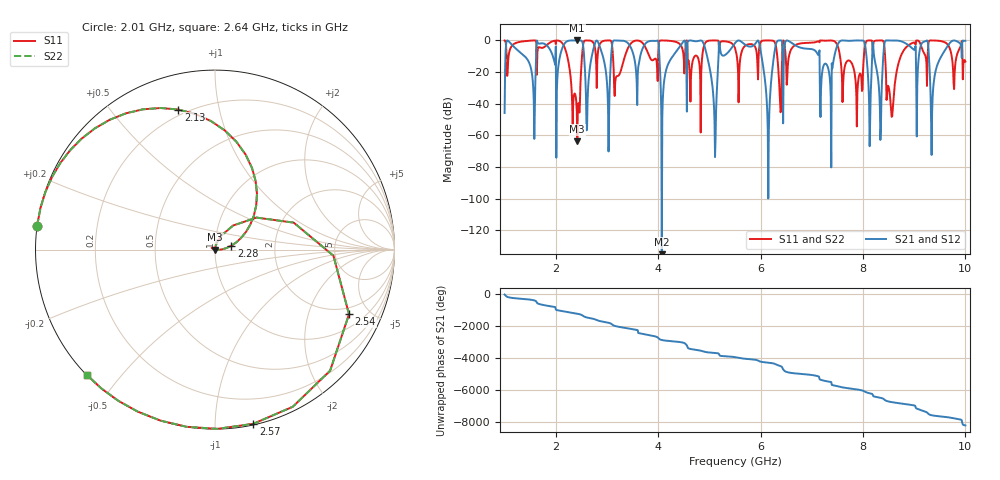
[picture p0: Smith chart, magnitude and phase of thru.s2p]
! Created Sun Jan 19 16:06:56 2025
# hz S ma R 50
! 2 Port Network Data from SP1.SP block
! freq  magS11  angS11  magS21  angS21  magS12  angS12  magS22  angS22
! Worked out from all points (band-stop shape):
!   901 points, 1 GHz to 10 GHz, reference 50 ohm
!   highest |S21| = 0.00 dB at 2.42 GHz (marker M1); lowest = -135.5 dB at 4.07 GHz (marker M2)
!   |S21| within 3 dB of the highest: 7.5 GHz to 8.041 GHz (541 MHz wide, 6.96 % of centre); 8.415 GHz to 8.889 GHz (473.4 MHz wide, 5.47 % of centre)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
!   lowest |S11| = -63.8 dB at 2.42 GHz (marker M3), VSWR 1.00, Z = 50 - j0.0555 ohm
!   |S11| at or under -10 dB: 2.224 GHz to 2.512 GHz (287.9 MHz wide, 12.2 % of centre); 7.552 GHz to 8.018 GHz (465.6 MHz wide, 5.98 % of centre); 8.432 GHz to 8.738 GHz (306.2 MHz wide, 3.57 % of centre)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
!   |S22| runs from -63.8 to 0.0 dB; largest |S21 - S12| = 0
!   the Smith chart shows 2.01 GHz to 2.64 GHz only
!   S11 on the Smith chart (normalised r, x): 2.01 GHz: 0.00, +0.07; 2.13 GHz: 0.17, +0.76; 2.28 GHz: 1.20, +0.05; 2.54 GHz: 1.61, -3.72; 2.57 GHz: 0.01, -1.24; 2.64 GHz: 0.00, -0.41
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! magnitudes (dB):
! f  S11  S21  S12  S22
! 1 GHz  0.0  -45.8  -45.8  0.0
! 2.01 GHz  0.0  -74.1  -74.1  0.0
! 2.13 GHz  -1.9  -4.6  -4.6  -1.9
! 2.28 GHz  -20.6  0.0  0.0  -20.6
! 2.42 GHz  -63.8  0.0  0.0  -63.8
! 2.5 GHz  -15.5  -0.1  -0.1  -15.5
! 2.54 GHz  -1.6  -5.0  -5.0  -1.6
! 2.57 GHz  -0.1  -19.1  -19.1  -0.1
! 2.64 GHz  0.0  -25.4  -25.4  0.0
! 4 GHz  -8.8  -0.6  -0.6  -8.8
! 4.07 GHz  0.0  -135.5  -135.5  0.0
! 4.83 GHz  -58.1  0.0  0.0  -58.1
! 5.11 GHz  0.0  -73.7  -73.7  0.0
! 5.5 GHz  -4.7  -1.8  -1.8  -4.7
! 6.15 GHz  0.0  -99.9  -99.9  0.0
! 6.33 GHz  -11.5  -0.3  -0.3  -11.5
! 7 GHz  -1.4  -5.5  -5.5  -1.4
! 8.33 GHz  0.0  -42.6  -42.6  0.0
! 8.5 GHz  -29.3  0.0  0.0  -29.3
! 9.23 GHz  -11.3  -0.3  -0.3  -11.3
! 9.35 GHz  0.0  -45.1  -45.1  0.0
! 10 GHz  -13.4  -0.2  -0.2  -13.4
